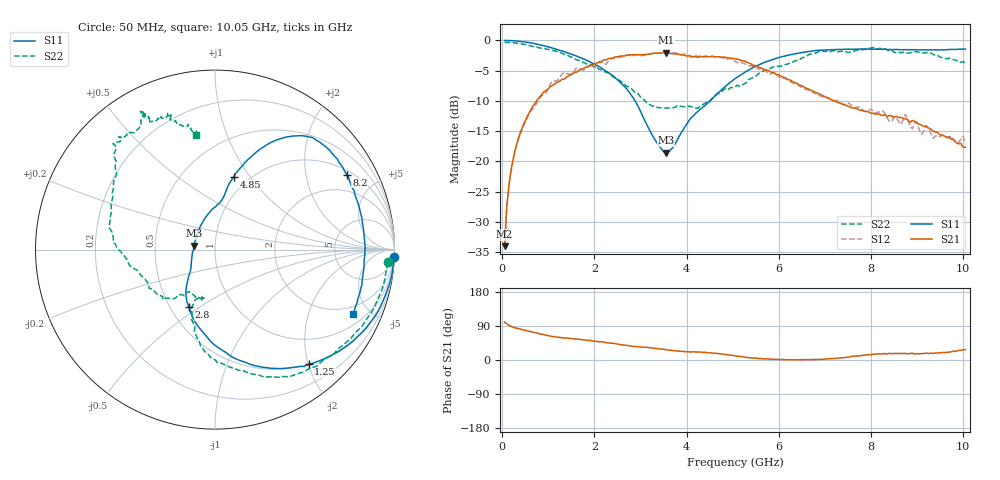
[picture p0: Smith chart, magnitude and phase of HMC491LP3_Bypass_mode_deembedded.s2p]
!Hittite Microwave Corporation
!12 Elizabeth Drive
!Chelmsford, MA 01824
!Tel: 978-250-3343
!Fax: 978-250-3373
!Device: HMC491LP3, 3.4-3.8 GHz, GaAs MMIC Low Noise Amplifier with Bypass Mode in leadless SMT package
!Misc: Bypass Mode, Room
# MHZ S MA R 50
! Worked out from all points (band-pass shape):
!   201 points, 50 MHz to 10.05 GHz, reference 50 ohm
!   highest |S21| = -2.06 dB at 3.55 GHz (marker M1); lowest = -34.0 dB at 50 MHz (marker M2)
!   |S21| within 3 dB of the highest: 1.648 GHz to 5.784 GHz (4.135 GHz wide, 111 % of centre)
!   lowest |S11| = -18.6 dB at 3.55 GHz (marker M3), VSWR 1.27, Z = 39.6 + j1.71 ohm
!   |S11| at or under -10 dB: 2.882 GHz to 4.504 GHz (1.623 GHz wide, 43.9 % of centre)
!   |S22| runs from -11.2 to -0.3 dB; largest |S21 - S12| = 0.064
!   S11 on the Smith chart (normalised r, x): 50 MHz: 2, -50; 1.25 GHz: 0.50, -2.01; 2.8 GHz: 0.62, -0.45; 4.85 GHz: 0.85, +0.84; 8.2 GHz: 1.17, +3.40; 10.05 GHz: 1.53, -3.90
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50  0.998 -2.3  0.02 100.2  0.02 102.3  0.965 -4.2
100  0.998 -4.3  0.044 94.9  0.044 94.7  0.962 -6.8
150  0.996 -6.5  0.066 91.2  0.067 91.0  0.96 -9.3
400  0.978 -17.2  0.177 81.0  0.172 80.5  0.937 -22.3
850  0.914 -35.4  0.354 68.2  0.349 69.7  0.861 -47.1
1250  0.825 -50.8  0.461 59.8  0.496 62.0  0.795 -63.5
1750  0.705 -68.2  0.581 53.4  0.568 50.4  0.66 -82.9
2350  0.527 -90.9  0.708 44.0  0.708 47.7  0.516 -99.9
2800  0.352 -114.3  0.759 36.6  0.736 36.9  0.401 -108.9
3400  0.135 -162.5  0.784 29.7  0.784 30.3  0.278 -105.3
3550  0.118 169.6  0.789 27.1  0.796 28.1  0.276 -103.6
4250  0.26 84.4  0.724 21.2  0.736 19.8  0.276 -122.1
4850  0.42 75.5  0.722 14.4  0.691 12.3  0.402 -136.0
5050  0.483 72.4  0.703 10.9  0.671 9.2  0.412 -147.7
5850  0.691 61.2  0.544 2.4  0.537 5.4  0.6 168.5
6750  0.819 49.9  0.38 1.2  0.369 2.3  0.779 135.7
8200  0.844 29.7  0.244 15.5  0.256 15.3  0.859 117.9
8400  0.841 26.3  0.24 17.5  0.215 12.9  0.816 116.5
8750  0.838 17.3  0.225 17.5  0.245 18.0  0.797 112.3
9100  0.835 7.3  0.199 17.1  0.167 18.5  0.79 109.2
9200  0.835 4.2  0.195 18.0  0.198 23.2  0.794 108.2
10050  0.847 -25.2  0.131 27.6  0.139 22.5  0.646 99.4
